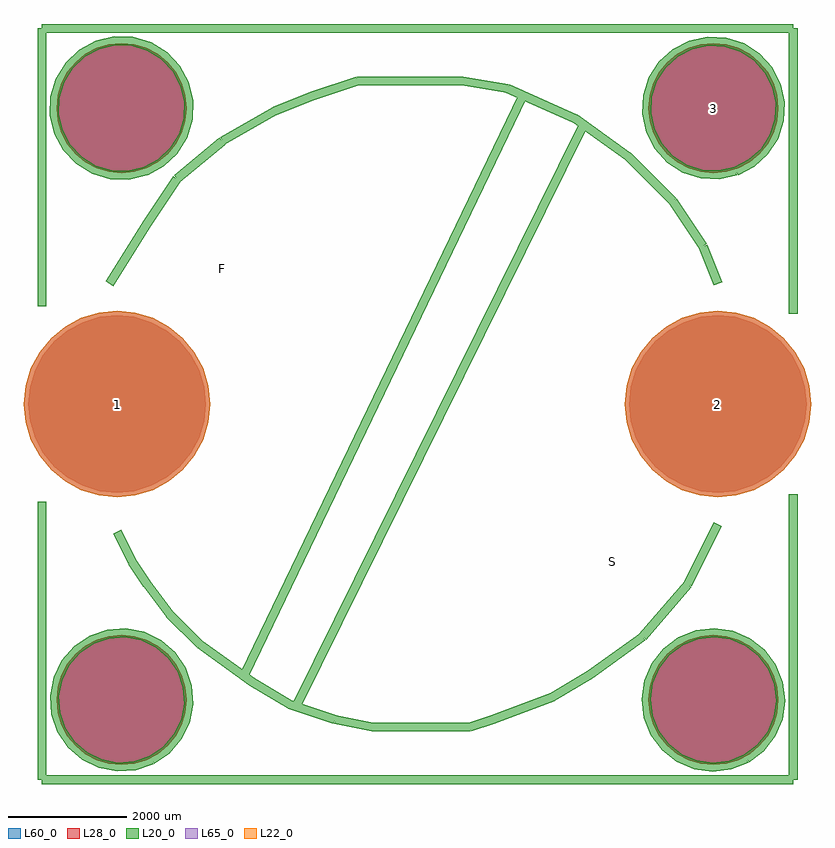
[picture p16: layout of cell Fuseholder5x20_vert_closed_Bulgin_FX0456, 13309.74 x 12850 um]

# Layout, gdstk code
import gdstk
lib = gdstk.Library(unit=1e-6, precision=1e-09)
def P(c, l, *ps):  # polygons
    for p in ps: c.add(gdstk.Polygon(p, *l))
L20_0 = (20, 0)
L22_0 = (22, 0)
L28_0 = (28, 0)
L60_0 = (60, 0)
L65_0 = (65, 0)

fuseholder5x20_vert_clos = lib.new_cell('Fuseholder5x20_vert_closed_Bulgin_FX0456')
P(fuseholder5x20_vert_clos, L22_0, [(-3505.13,0),(-3535.391,307.242),(-3625.01,602.677),(-3770.543,874.951),(-3966.399,1113.601),(-4205.049,1309.457),(-4477.323,1454.99),(-4772.758,1544.609),(-5080,1574.87),(-5387.242,1544.609),(-5682.677,1454.99),(-5954.951,1309.457),(-6193.601,1113.601),(-6389.457,874.951),(-6534.99,602.677),(-6624.609,307.242),(-6654.87,0),(-6624.609,-307.242),(-6534.99,-602.677),(-6389.457,-874.951),(-6193.601,-1113.601),(-5954.951,-1309.457),(-5682.677,-1454.99),(-5387.242,-1544.609),(-5080,-1574.87),(-4772.758,-1544.609),(-4477.323,-1454.99),(-4205.049,-1309.457),(-3966.399,-1113.601),(-3770.543,-874.951),(-3625.01,-602.677),(-3535.391,-307.242)],
  [(6654.87,0),(6624.609,307.242),(6534.99,602.677),(6389.457,874.951),(6193.601,1113.601),(5954.951,1309.457),(5682.677,1454.99),(5387.242,1544.609),(5080,1574.87),(4772.758,1544.609),(4477.323,1454.99),(4205.049,1309.457),(3966.399,1113.601),(3770.543,874.951),(3625.01,602.677),(3535.391,307.242),(3505.13,0),(3535.391,-307.242),(3625.01,-602.677),(3770.543,-874.951),(3966.399,-1113.601),(4205.049,-1309.457),(4477.323,-1454.99),(4772.758,-1544.609),(5080,-1574.87),(5387.242,-1544.609),(5682.677,-1454.99),(5954.951,-1309.457),(6193.601,-1113.601),(6389.457,-874.951),(6534.99,-602.677),(6624.609,-307.242)])
P(fuseholder5x20_vert_clos, L28_0, [(6103.62,-5003.8),(6082.487,-4789.236),(6019.901,-4582.917),(5918.267,-4392.773),(5781.49,-4226.11),(5614.827,-4089.333),(5424.683,-3987.699),(5218.364,-3925.113),(5003.8,-3903.98),(4789.236,-3925.113),(4582.917,-3987.699),(4392.773,-4089.333),(4226.11,-4226.11),(4089.333,-4392.773),(3987.699,-4582.917),(3925.113,-4789.236),(3903.98,-5003.8),(3925.113,-5218.364),(3987.699,-5424.683),(4089.333,-5614.827),(4226.11,-5781.49),(4392.773,-5918.267),(4582.917,-6019.901),(4789.236,-6082.487),(5003.8,-6103.62),(5218.364,-6082.487),(5424.683,-6019.901),(5614.827,-5918.267),(5781.49,-5781.49),(5918.267,-5614.827),(6019.901,-5424.683),(6082.487,-5218.364)],
  [(-3903.98,-5003.8),(-3925.113,-4789.236),(-3987.699,-4582.917),(-4089.333,-4392.773),(-4226.11,-4226.11),(-4392.773,-4089.333),(-4582.917,-3987.699),(-4789.236,-3925.113),(-5003.8,-3903.98),(-5218.364,-3925.113),(-5424.683,-3987.699),(-5614.827,-4089.333),(-5781.49,-4226.11),(-5918.267,-4392.773),(-6019.901,-4582.917),(-6082.487,-4789.236),(-6103.62,-5003.8),(-6082.487,-5218.364),(-6019.901,-5424.683),(-5918.267,-5614.827),(-5781.49,-5781.49),(-5614.827,-5918.267),(-5424.683,-6019.901),(-5218.364,-6082.487),(-5003.8,-6103.62),(-4789.236,-6082.487),(-4582.917,-6019.901),(-4392.773,-5918.267),(-4226.11,-5781.49),(-4089.333,-5614.827),(-3987.699,-5424.683),(-3925.113,-5218.364)],
  [(-3903.98,5003.8),(-3925.113,5218.364),(-3987.699,5424.683),(-4089.333,5614.827),(-4226.11,5781.49),(-4392.773,5918.267),(-4582.917,6019.901),(-4789.236,6082.487),(-5003.8,6103.62),(-5218.364,6082.487),(-5424.683,6019.901),(-5614.827,5918.267),(-5781.49,5781.49),(-5918.267,5614.827),(-6019.901,5424.683),(-6082.487,5218.364),(-6103.62,5003.8),(-6082.487,4789.236),(-6019.901,4582.917),(-5918.267,4392.773),(-5781.49,4226.11),(-5614.827,4089.333),(-5424.683,3987.699),(-5218.364,3925.113),(-5003.8,3903.98),(-4789.236,3925.113),(-4582.917,3987.699),(-4392.773,4089.333),(-4226.11,4226.11),(-4089.333,4392.773),(-3987.699,4582.917),(-3925.113,4789.236)],
  [(6103.62,5003.8),(6082.487,5218.364),(6019.901,5424.683),(5918.267,5614.827),(5781.49,5781.49),(5614.827,5918.267),(5424.683,6019.901),(5218.364,6082.487),(5003.8,6103.62),(4789.236,6082.487),(4582.917,6019.901),(4392.773,5918.267),(4226.11,5781.49),(4089.333,5614.827),(3987.699,5424.683),(3925.113,5218.364),(3903.98,5003.8),(3925.113,4789.236),(3987.699,4582.917),(4089.333,4392.773),(4226.11,4226.11),(4392.773,4089.333),(4582.917,3987.699),(4789.236,3925.113),(5003.8,3903.98),(5218.364,3925.113),(5424.683,3987.699),(5614.827,4089.333),(5781.49,4226.11),(5918.267,4392.773),(6019.901,4582.917),(6082.487,4789.236)],
  [(-3580.13,0),(-3608.95,292.61),(-3694.301,573.975),(-3832.904,833.283),(-4019.432,1060.568),(-4246.717,1247.096),(-4506.025,1385.699),(-4787.39,1471.05),(-5080,1499.87),(-5372.61,1471.05),(-5653.975,1385.699),(-5913.283,1247.096),(-6140.568,1060.568),(-6327.096,833.283),(-6465.699,573.975),(-6551.05,292.61),(-6579.87,0),(-6551.05,-292.61),(-6465.699,-573.975),(-6327.096,-833.283),(-6140.568,-1060.568),(-5913.283,-1247.096),(-5653.975,-1385.699),(-5372.61,-1471.05),(-5080,-1499.87),(-4787.39,-1471.05),(-4506.025,-1385.699),(-4246.717,-1247.096),(-4019.432,-1060.568),(-3832.904,-833.283),(-3694.301,-573.975),(-3608.95,-292.61)],
  [(6579.87,0),(6551.05,292.61),(6465.699,573.975),(6327.096,833.283),(6140.568,1060.568),(5913.283,1247.096),(5653.975,1385.699),(5372.61,1471.05),(5080,1499.87),(4787.39,1471.05),(4506.025,1385.699),(4246.717,1247.096),(4019.432,1060.568),(3832.904,833.283),(3694.301,573.975),(3608.95,292.61),(3580.13,0),(3608.95,-292.61),(3694.301,-573.975),(3832.904,-833.283),(4019.432,-1060.568),(4246.717,-1247.096),(4506.025,-1385.699),(4787.39,-1471.05),(5080,-1499.87),(5372.61,-1471.05),(5653.975,-1385.699),(5913.283,-1247.096),(6140.568,-1060.568),(6327.096,-833.283),(6465.699,-573.975),(6551.05,-292.61)])
P(fuseholder5x20_vert_clos, L60_0, [(6103.62,-5003.8),(6082.487,-4789.236),(6019.901,-4582.917),(5918.267,-4392.773),(5781.49,-4226.11),(5614.827,-4089.333),(5424.683,-3987.699),(5218.364,-3925.113),(5003.8,-3903.98),(4789.236,-3925.113),(4582.917,-3987.699),(4392.773,-4089.333),(4226.11,-4226.11),(4089.333,-4392.773),(3987.699,-4582.917),(3925.113,-4789.236),(3903.98,-5003.8),(3925.113,-5218.364),(3987.699,-5424.683),(4089.333,-5614.827),(4226.11,-5781.49),(4392.773,-5918.267),(4582.917,-6019.901),(4789.236,-6082.487),(5003.8,-6103.62),(5218.364,-6082.487),(5424.683,-6019.901),(5614.827,-5918.267),(5781.49,-5781.49),(5918.267,-5614.827),(6019.901,-5424.683),(6082.487,-5218.364)],
  [(-3903.98,-5003.8),(-3925.113,-4789.236),(-3987.699,-4582.917),(-4089.333,-4392.773),(-4226.11,-4226.11),(-4392.773,-4089.333),(-4582.917,-3987.699),(-4789.236,-3925.113),(-5003.8,-3903.98),(-5218.364,-3925.113),(-5424.683,-3987.699),(-5614.827,-4089.333),(-5781.49,-4226.11),(-5918.267,-4392.773),(-6019.901,-4582.917),(-6082.487,-4789.236),(-6103.62,-5003.8),(-6082.487,-5218.364),(-6019.901,-5424.683),(-5918.267,-5614.827),(-5781.49,-5781.49),(-5614.827,-5918.267),(-5424.683,-6019.901),(-5218.364,-6082.487),(-5003.8,-6103.62),(-4789.236,-6082.487),(-4582.917,-6019.901),(-4392.773,-5918.267),(-4226.11,-5781.49),(-4089.333,-5614.827),(-3987.699,-5424.683),(-3925.113,-5218.364)],
  [(-3903.98,5003.8),(-3925.113,5218.364),(-3987.699,5424.683),(-4089.333,5614.827),(-4226.11,5781.49),(-4392.773,5918.267),(-4582.917,6019.901),(-4789.236,6082.487),(-5003.8,6103.62),(-5218.364,6082.487),(-5424.683,6019.901),(-5614.827,5918.267),(-5781.49,5781.49),(-5918.267,5614.827),(-6019.901,5424.683),(-6082.487,5218.364),(-6103.62,5003.8),(-6082.487,4789.236),(-6019.901,4582.917),(-5918.267,4392.773),(-5781.49,4226.11),(-5614.827,4089.333),(-5424.683,3987.699),(-5218.364,3925.113),(-5003.8,3903.98),(-4789.236,3925.113),(-4582.917,3987.699),(-4392.773,4089.333),(-4226.11,4226.11),(-4089.333,4392.773),(-3987.699,4582.917),(-3925.113,4789.236)],
  [(6103.62,5003.8),(6082.487,5218.364),(6019.901,5424.683),(5918.267,5614.827),(5781.49,5781.49),(5614.827,5918.267),(5424.683,6019.901),(5218.364,6082.487),(5003.8,6103.62),(4789.236,6082.487),(4582.917,6019.901),(4392.773,5918.267),(4226.11,5781.49),(4089.333,5614.827),(3987.699,5424.683),(3925.113,5218.364),(3903.98,5003.8),(3925.113,4789.236),(3987.699,4582.917),(4089.333,4392.773),(4226.11,4226.11),(4392.773,4089.333),(4582.917,3987.699),(4789.236,3925.113),(5003.8,3903.98),(5218.364,3925.113),(5424.683,3987.699),(5614.827,4089.333),(5781.49,4226.11),(5918.267,4392.773),(6019.901,4582.917),(6082.487,4789.236)],
  [(-3580.13,0),(-3608.95,292.61),(-3694.301,573.975),(-3832.904,833.283),(-4019.432,1060.568),(-4246.717,1247.096),(-4506.025,1385.699),(-4787.39,1471.05),(-5080,1499.87),(-5372.61,1471.05),(-5653.975,1385.699),(-5913.283,1247.096),(-6140.568,1060.568),(-6327.096,833.283),(-6465.699,573.975),(-6551.05,292.61),(-6579.87,0),(-6551.05,-292.61),(-6465.699,-573.975),(-6327.096,-833.283),(-6140.568,-1060.568),(-5913.283,-1247.096),(-5653.975,-1385.699),(-5372.61,-1471.05),(-5080,-1499.87),(-4787.39,-1471.05),(-4506.025,-1385.699),(-4246.717,-1247.096),(-4019.432,-1060.568),(-3832.904,-833.283),(-3694.301,-573.975),(-3608.95,-292.61)],
  [(6579.87,0),(6551.05,292.61),(6465.699,573.975),(6327.096,833.283),(6140.568,1060.568),(5913.283,1247.096),(5653.975,1385.699),(5372.61,1471.05),(5080,1499.87),(4787.39,1471.05),(4506.025,1385.699),(4246.717,1247.096),(4019.432,1060.568),(3832.904,833.283),(3694.301,573.975),(3608.95,292.61),(3580.13,0),(3608.95,-292.61),(3694.301,-573.975),(3832.904,-833.283),(4019.432,-1060.568),(4246.717,-1247.096),(4506.025,-1385.699),(4787.39,-1471.05),(5080,-1499.87),(5372.61,-1471.05),(5653.975,-1385.699),(5913.283,-1247.096),(6140.568,-1060.568),(6327.096,-833.283),(6465.699,-573.975),(6551.05,-292.61)])
P(fuseholder5x20_vert_clos, L65_0, [(-3505.13,0),(-3535.391,307.242),(-3625.01,602.677),(-3770.543,874.951),(-3966.399,1113.601),(-4205.049,1309.457),(-4477.323,1454.99),(-4772.758,1544.609),(-5080,1574.87),(-5387.242,1544.609),(-5682.677,1454.99),(-5954.951,1309.457),(-6193.601,1113.601),(-6389.457,874.951),(-6534.99,602.677),(-6624.609,307.242),(-6654.87,0),(-6624.609,-307.242),(-6534.99,-602.677),(-6389.457,-874.951),(-6193.601,-1113.601),(-5954.951,-1309.457),(-5682.677,-1454.99),(-5387.242,-1544.609),(-5080,-1574.87),(-4772.758,-1544.609),(-4477.323,-1454.99),(-4205.049,-1309.457),(-3966.399,-1113.601),(-3770.543,-874.951),(-3625.01,-602.677),(-3535.391,-307.242)],
  [(6654.87,0),(6624.609,307.242),(6534.99,602.677),(6389.457,874.951),(6193.601,1113.601),(5954.951,1309.457),(5682.677,1454.99),(5387.242,1544.609),(5080,1574.87),(4772.758,1544.609),(4477.323,1454.99),(4205.049,1309.457),(3966.399,1113.601),(3770.543,874.951),(3625.01,602.677),(3535.391,307.242),(3505.13,0),(3535.391,-307.242),(3625.01,-602.677),(3770.543,-874.951),(3966.399,-1113.601),(4205.049,-1309.457),(4477.323,-1454.99),(4772.758,-1544.609),(5080,-1574.87),(5387.242,-1544.609),(5682.677,-1454.99),(5954.951,-1309.457),(6193.601,-1113.601),(6389.457,-874.951),(6534.99,-602.677),(6624.609,-307.242)])
fuseholder5x20_vert_clos.add(gdstk.FlexPath([(5384.8,3937),(5647.926,4071.96),(5867.156,4270.424),(6027.549,4518.866),(6118.176,4800.356),(6132.86,5095.71),(6070.6,5384.8),(5935.64,5647.926),(5737.176,5867.156),(5488.734,6027.549),(5207.244,6118.176),(4911.89,6132.86),(4622.8,6070.6),(4359.674,5935.64),(4140.444,5737.176),(3980.051,5488.734),(3889.424,5207.244),(3874.74,4911.89),(3937,4622.8),(4071.96,4359.674),(4270.424,4140.444),(4518.866,3980.051),(4800.356,3889.424),(5095.71,3874.74),(5384.8,3937)], 149.998, ends="flush", simple_path=True, layer=20, datatype=0))  # L20_0
fuseholder5x20_vert_clos.add(gdstk.FlexPath([(-4597.4,3937),(-4335.14,4078.534),(-4118.447,4283.124),(-3962.09,4536.827),(-3876.724,4822.353),(-3868.166,5120.244),(-3937,5410.2),(-4078.534,5672.46),(-4283.124,5889.153),(-4536.827,6045.51),(-4822.353,6130.876),(-5120.244,6139.434),(-5410.2,6070.6),(-5672.46,5929.066),(-5889.153,5724.476),(-6045.51,5470.773),(-6130.876,5185.247),(-6139.434,4887.356),(-6070.6,4597.4),(-5929.066,4335.14),(-5724.476,4118.447),(-5470.773,3962.09),(-5185.247,3876.724),(-4887.356,3868.166),(-4597.4,3937)], 149.998, ends="flush", simple_path=True, layer=20, datatype=0))  # L20_0
fuseholder5x20_vert_clos.add(gdstk.FlexPath([(5562.6,-5994.4),(5799.945,-5816.018),(5983.035,-5582.285),(6099.391,-5309.129),(6141.085,-5015.165),(6105.274,-4720.427),(5994.4,-4445),(5816.018,-4207.655),(5582.285,-4024.565),(5309.129,-3908.209),(5015.165,-3866.515),(4720.427,-3902.326),(4445,-4013.2),(4207.655,-4191.582),(4024.565,-4425.315),(3908.209,-4698.471),(3866.515,-4992.435),(3902.326,-5287.173),(4013.2,-5562.6),(4191.582,-5799.945),(4425.315,-5983.035),(4698.471,-6099.391),(4992.435,-6141.085),(5287.173,-6105.274),(5562.6,-5994.4)], 149.998, ends="flush", simple_path=True, layer=20, datatype=0))  # L20_0
fuseholder5x20_vert_clos.add(gdstk.FlexPath([(-4495.8,-6019.8),(-4250.15,-5853.701),(-4055.859,-5629.682),(-3926.169,-5363.01),(-3869.918,-5071.859),(-3890.939,-4776.07),(-3987.8,-4495.8),(-4153.899,-4250.15),(-4377.918,-4055.859),(-4644.59,-3926.169),(-4935.741,-3869.918),(-5231.53,-3890.939),(-5511.8,-3987.8),(-5757.45,-4153.899),(-5951.741,-4377.918),(-6081.431,-4644.59),(-6137.682,-4935.741),(-6116.661,-5231.53),(-6019.8,-5511.8),(-5853.701,-5757.45),(-5629.682,-5951.741),(-5363.01,-6081.431),(-5071.859,-6137.682),(-4776.07,-6116.661),(-4495.8,-6019.8)], 149.998, ends="flush", simple_path=True, layer=20, datatype=0))  # L20_0
fuseholder5x20_vert_clos.add(gdstk.FlexPath([(-6350,-6350),(6350,-6350)], 149.998, ends="flush", simple_path=True, layer=20, datatype=0))  # L20_0
fuseholder5x20_vert_clos.add(gdstk.FlexPath([(6350,6350),(-6350,6350)], 149.998, ends="flush", simple_path=True, layer=20, datatype=0))  # L20_0
fuseholder5x20_vert_clos.add(gdstk.FlexPath([(6350,1524),(6350,1651)], 149.998, ends="flush", simple_path=True, layer=20, datatype=0))  # L20_0
fuseholder5x20_vert_clos.add(gdstk.FlexPath([(6350,6350),(6350,1524)], 149.998, ends="flush", simple_path=True, layer=20, datatype=0))  # L20_0
fuseholder5x20_vert_clos.add(gdstk.FlexPath([(6350,-6350),(6350,-1524)], 149.998, ends="flush", simple_path=True, layer=20, datatype=0))  # L20_0
fuseholder5x20_vert_clos.add(gdstk.FlexPath([(-6350,-6350),(-6350,-1651)], 149.998, ends="flush", simple_path=True, layer=20, datatype=0))  # L20_0
fuseholder5x20_vert_clos.add(gdstk.FlexPath([(-6350,6350),(-6350,1651)], 149.998, ends="flush", simple_path=True, layer=20, datatype=0))  # L20_0
fuseholder5x20_vert_clos.add(gdstk.FlexPath([(4572,-3048),(5080,-2032)], 149.998, ends="flush", simple_path=True, layer=20, datatype=0))  # L20_0
fuseholder5x20_vert_clos.add(gdstk.FlexPath([(3810,-3937),(4572,-3048)], 149.998, ends="flush", simple_path=True, layer=20, datatype=0))  # L20_0
fuseholder5x20_vert_clos.add(gdstk.FlexPath([(2921,-4572),(3810,-3937)], 149.998, ends="flush", simple_path=True, layer=20, datatype=0))  # L20_0
fuseholder5x20_vert_clos.add(gdstk.FlexPath([(2286,-4953),(2921,-4572)], 149.998, ends="flush", simple_path=True, layer=20, datatype=0))  # L20_0
fuseholder5x20_vert_clos.add(gdstk.FlexPath([(1270,-5334),(2286,-4953)], 149.998, ends="flush", simple_path=True, layer=20, datatype=0))  # L20_0
fuseholder5x20_vert_clos.add(gdstk.FlexPath([(889,-5461),(1270,-5334)], 149.998, ends="flush", simple_path=True, layer=20, datatype=0))  # L20_0
fuseholder5x20_vert_clos.add(gdstk.FlexPath([(381,-5461),(889,-5461)], 149.998, ends="flush", simple_path=True, layer=20, datatype=0))  # L20_0
fuseholder5x20_vert_clos.add(gdstk.FlexPath([(-127,-5461),(381,-5461)], 149.998, ends="flush", simple_path=True, layer=20, datatype=0))  # L20_0
fuseholder5x20_vert_clos.add(gdstk.FlexPath([(-762,-5461),(-127,-5461)], 149.998, ends="flush", simple_path=True, layer=20, datatype=0))  # L20_0
fuseholder5x20_vert_clos.add(gdstk.FlexPath([(-1397,-5334),(-762,-5461)], 149.998, ends="flush", simple_path=True, layer=20, datatype=0))  # L20_0
fuseholder5x20_vert_clos.add(gdstk.FlexPath([(-2159,-5080),(-1397,-5334)], 149.998, ends="flush", simple_path=True, layer=20, datatype=0))  # L20_0
fuseholder5x20_vert_clos.add(gdstk.FlexPath([(-2794,-4699),(-2159,-5080)], 149.998, ends="flush", simple_path=True, layer=20, datatype=0))  # L20_0
fuseholder5x20_vert_clos.add(gdstk.FlexPath([(-3683,-4064),(-2794,-4699)], 149.998, ends="flush", simple_path=True, layer=20, datatype=0))  # L20_0
fuseholder5x20_vert_clos.add(gdstk.FlexPath([(-4191,-3556),(-3683,-4064)], 149.998, ends="flush", simple_path=True, layer=20, datatype=0))  # L20_0
fuseholder5x20_vert_clos.add(gdstk.FlexPath([(-4572,-3048),(-4191,-3556)], 149.998, ends="flush", simple_path=True, layer=20, datatype=0))  # L20_0
fuseholder5x20_vert_clos.add(gdstk.FlexPath([(-4826,-2667),(-4572,-3048)], 149.998, ends="flush", simple_path=True, layer=20, datatype=0))  # L20_0
fuseholder5x20_vert_clos.add(gdstk.FlexPath([(-5080,-2159),(-4826,-2667)], 149.998, ends="flush", simple_path=True, layer=20, datatype=0))  # L20_0
fuseholder5x20_vert_clos.add(gdstk.FlexPath([(-4572,3048),(-5207,2032)], 149.998, ends="flush", simple_path=True, layer=20, datatype=0))  # L20_0
fuseholder5x20_vert_clos.add(gdstk.FlexPath([(-4064,3810),(-4572,3048)], 149.998, ends="flush", simple_path=True, layer=20, datatype=0))  # L20_0
fuseholder5x20_vert_clos.add(gdstk.FlexPath([(-3302,4445),(-4064,3810)], 149.998, ends="flush", simple_path=True, layer=20, datatype=0))  # L20_0
fuseholder5x20_vert_clos.add(gdstk.FlexPath([(-2413,4953),(-3302,4445)], 149.998, ends="flush", simple_path=True, layer=20, datatype=0))  # L20_0
fuseholder5x20_vert_clos.add(gdstk.FlexPath([(-1778,5207),(-2413,4953)], 149.998, ends="flush", simple_path=True, layer=20, datatype=0))  # L20_0
fuseholder5x20_vert_clos.add(gdstk.FlexPath([(-1016,5461),(-1778,5207)], 149.998, ends="flush", simple_path=True, layer=20, datatype=0))  # L20_0
fuseholder5x20_vert_clos.add(gdstk.FlexPath([(762,5461),(-1016,5461)], 149.998, ends="flush", simple_path=True, layer=20, datatype=0))  # L20_0
fuseholder5x20_vert_clos.add(gdstk.FlexPath([(1524,5334),(762,5461)], 149.998, ends="flush", simple_path=True, layer=20, datatype=0))  # L20_0
fuseholder5x20_vert_clos.add(gdstk.FlexPath([(2667,4826),(1524,5334)], 149.998, ends="flush", simple_path=True, layer=20, datatype=0))  # L20_0
fuseholder5x20_vert_clos.add(gdstk.FlexPath([(3556,4191),(2667,4826)], 149.998, ends="flush", simple_path=True, layer=20, datatype=0))  # L20_0
fuseholder5x20_vert_clos.add(gdstk.FlexPath([(4318,3429),(3556,4191)], 149.998, ends="flush", simple_path=True, layer=20, datatype=0))  # L20_0
fuseholder5x20_vert_clos.add(gdstk.FlexPath([(4826,2667),(4318,3429)], 149.998, ends="flush", simple_path=True, layer=20, datatype=0))  # L20_0
fuseholder5x20_vert_clos.add(gdstk.FlexPath([(5080,2032),(4826,2667)], 149.998, ends="flush", simple_path=True, layer=20, datatype=0))  # L20_0
fuseholder5x20_vert_clos.add(gdstk.FlexPath([(1778,5207),(-2921,-4572)], 149.998, ends="flush", simple_path=True, layer=20, datatype=0))  # L20_0
fuseholder5x20_vert_clos.add(gdstk.FlexPath([(2794,4699),(-2032,-5080)], 149.998, ends="flush", simple_path=True, layer=20, datatype=0))  # L20_0
fuseholder5x20_vert_clos.add(gdstk.Label('3', (5003.8,5003.8), layer=28, texttype=0))
fuseholder5x20_vert_clos.add(gdstk.Label('1', (-5080,0), layer=28, texttype=0))
fuseholder5x20_vert_clos.add(gdstk.Label('2', (5080,0), layer=28, texttype=0))
fuseholder5x20_vert_clos.add(gdstk.Label('F', (-3302,2286), layer=9, texttype=0))
fuseholder5x20_vert_clos.add(gdstk.Label('S', (3302,-2667), layer=9, texttype=0))
fuseholder5x20_vert_clos.add(gdstk.Label('type', (0,-8890), layer=9, texttype=0))
fuseholder5x20_vert_clos.add(gdstk.Label('devicename', (279.4,8204.2), layer=9, texttype=0))

lib.write_gds('Fuseholder5x20_vert_closed_Bulgin_FX0456.gds')
